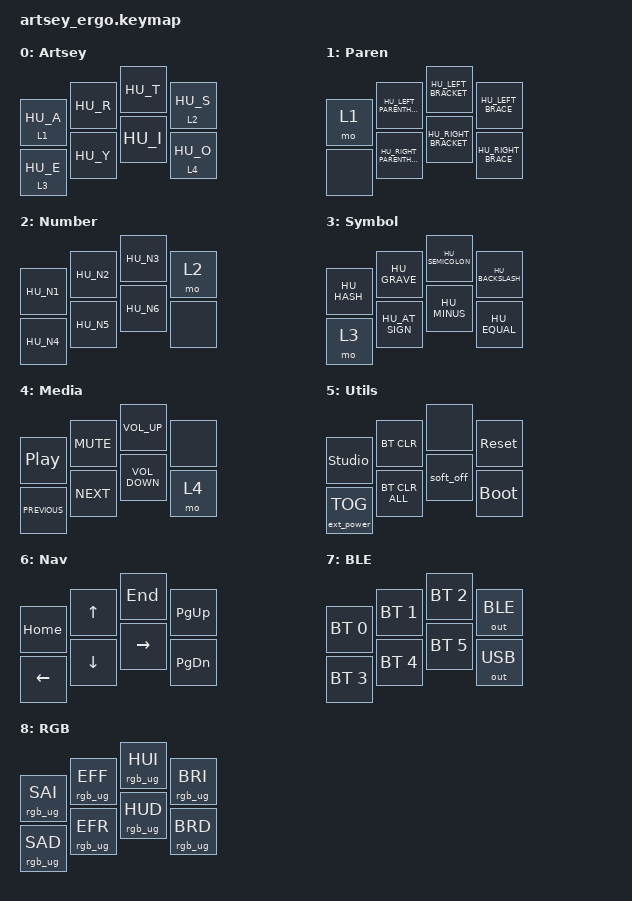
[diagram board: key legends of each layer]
#include <dt-bindings/zmk/keys.h>
#include <dt-bindings/zmk/outputs.h>
#include <dt-bindings/zmk/ext_power.h>
#include <dt-bindings/zmk/bt.h>
#include <dt-bindings/zmk/rgb.h>
#include <dt-bindings/led/led.h>
#include <locale/keys_hu.h>
#include <behaviors.dtsi>

/ {
	keymap {
		compatible = "zmk,keymap";

		base { // 0
			display-name = "Artsey";
			bindings = <
				&lt 1 HU_A		&kp HU_R	&kp HU_T	&lt 2 HU_S
				&lt 3 HU_E		&kp HU_Y	&kp HU_I	&lt 4 HU_O
			>;
		};

		parenthicals { // 1
			display-name = "Paren";
			bindings = <
				&mo 1	&kp HU_LEFT_PARENTHESIS		&kp HU_LEFT_BRACKET		&kp HU_LEFT_BRACE
				&none	&kp HU_RIGHT_PARENTHESIS	&kp HU_RIGHT_BRACKET	&kp HU_RIGHT_BRACE
			>;
		};

		numbers { // 2
			display-name = "Number";
			bindings = <
				&kp HU_N1	&kp HU_N2	&kp HU_N3	&mo 2
				&kp HU_N4	&kp HU_N5	&kp HU_N6	&none
			>;
		};

		symbols { // 3
			display-name = "Symbol";
			bindings = <
				&kp HU_HASH		&kp HU_GRAVE		&kp HU_SEMICOLON	&kp HU_BACKSLASH
				&mo 3			&kp HU_AT_SIGN		&kp HU_MINUS		&kp HU_EQUAL
			>;
		};

		media { // 4
			display-name = "Media";
			bindings = <
				&kp C_PLAY_PAUSE	&kp C_MUTE		&kp C_VOLUME_UP		&none
				&kp C_PREVIOUS		&kp C_NEXT		&kp C_VOLUME_DOWN	&mo 4
			>;
		};

		utilities { // 5
			display-name = "Utils";
			bindings = <
				&studio_unlock		&bt BT_CLR			&none		&sys_reset
				&ext_power EP_TOG	&bt BT_CLR_ALL		&soft_off	&bootloader
			>;
		};

		navigation { // 6
			display-name = "Nav";
			bindings = <
				&kp HOME			&kp UP_ARROW		&kp END				&kp PAGE_UP
				&kp LEFT_ARROW		&kp DOWN_ARROW		&kp RIGHT_ARROW		&kp PAGE_DOWN
			>;
		};

		bluetooth { // 7
			display-name = "BLE";
			bindings = <
				&bt BT_SEL 0	&bt BT_SEL 1	&bt BT_SEL 2	&out OUT_BLE
				&bt BT_SEL 3	&bt BT_SEL 4	&bt BT_SEL 5	&out OUT_USB
			>;
		};

		rgb { // 8
			display-name = "RGB";
			bindings = <
				&rgb_ug RGB_SAI		&rgb_ug RGB_EFF		&rgb_ug RGB_HUI		&rgb_ug RGB_BRI
				&rgb_ug RGB_SAD		&rgb_ug RGB_EFR		&rgb_ug RGB_HUD		&rgb_ug RGB_BRD
			>;
		};
	};

	combos {
		compatible = "zmk,combos";

		combo_b	{ layers = <0>; timeout-ms = <50>; key-positions = <4 7>;		bindings = <&kp HU_B>; };
		combo_c	{ layers = <0>; timeout-ms = <50>; key-positions = <4 5>;		bindings = <&kp HU_C>; };
		combo_d	{ layers = <0>; timeout-ms = <50>; key-positions = <0 1 2>;		bindings = <&kp HU_D>; };
		combo_f	{ layers = <0>; timeout-ms = <50>; key-positions = <0 1>;		bindings = <&kp HU_F>; };
		combo_g	{ layers = <0>; timeout-ms = <50>; key-positions = <1 2>;		bindings = <&kp HU_G>; };
		combo_h	{ layers = <0>; timeout-ms = <50>; key-positions = <4 6>;		bindings = <&kp HU_H>; };
		combo_j	{ layers = <0>; timeout-ms = <50>; key-positions = <2 3>;		bindings = <&kp HU_J>; };
		combo_k	{ layers = <0>; timeout-ms = <50>; key-positions = <5 7>;		bindings = <&kp HU_K>; };
		combo_l	{ layers = <0>; timeout-ms = <50>; key-positions = <4 5 6>;		bindings = <&kp HU_L>; };

		combo_m	{ layers = <0>; timeout-ms = <50>; key-positions = <5 6 7>;		bindings = <&kp HU_M>; };
		combo_n	{ layers = <0>; timeout-ms = <50>; key-positions = <6 7>;		bindings = <&kp HU_N>; };
		combo_p	{ layers = <0>; timeout-ms = <50>; key-positions = <4 6 7>;		bindings = <&kp HU_P>; };
		combo_q	{ layers = <0>; timeout-ms = <50>; key-positions = <0 2 3>;		bindings = <&kp HU_Q>; };
		combo_u	{ layers = <0>; timeout-ms = <50>; key-positions = <5 6>;		bindings = <&kp HU_U>; };
		combo_v	{ layers = <0>; timeout-ms = <50>; key-positions = <1 3>;		bindings = <&kp HU_V>; };
		combo_w	{ layers = <0>; timeout-ms = <50>; key-positions = <0 3>;		bindings = <&kp HU_W>; };
		combo_x	{ layers = <0>; timeout-ms = <50>; key-positions = <1 2 3>;		bindings = <&kp HU_X>; };
		combo_z	{ layers = <0>; timeout-ms = <50>; key-positions = <0 1 2 3>;	bindings = <&kp HU_Z>; };

		// ---

		combo_comma			{ layers = <0>; timeout-ms = <50>; key-positions = <0 5>; bindings = <&kp HU_COMMA>; };
		combo_period		{ layers = <0>; timeout-ms = <50>; key-positions = <0 6>; bindings = <&kp HU_PERIOD>; };
		combo_slash			{ layers = <0>; timeout-ms = <50>; key-positions = <0 7>; bindings = <&kp HU_SLASH>; };

		combo_quote			{ layers = <0>; timeout-ms = <50>; key-positions = <1 5>; bindings = <&kp HU_DOUBLE_QUOTES>; };
		combo_exclamation	{ layers = <0>; timeout-ms = <50>; key-positions = <2 6>; bindings = <&kp HU_EXCLAMATION>; };
		combo_question		{ layers = <0>; timeout-ms = <50>; key-positions = <3 7>; bindings = <&kp HU_QUESTION>; };

		// ---

		combo_space			{ timeout-ms = <50>; key-positions = <4 5 6 7>;		bindings = <&kp HU_SPACE>; };
		combo_backspace		{ timeout-ms = <50>; key-positions = <1 4>;			bindings = <&kp BACKSPACE>; };
		combo_delete		{ timeout-ms = <50>; key-positions = <1 6>;			bindings = <&kp DELETE>; };

		combo_enter			{ timeout-ms = <50>; key-positions = <0 4>;			bindings = <&kp ENTER>; };
		combo_esc			{ timeout-ms = <50>; key-positions = <0 1 7>;		bindings = <&kp ESCAPE>; };
		combo_tab			{ timeout-ms = <50>; key-positions = <0 1 2 7>;		bindings = <&kp TAB>; };

		// ---

		combo_ctrl_lock		{ timeout-ms = <50>; key-positions = <3 4>;				bindings = <&kt LEFT_CONTROL>; };
		combo_gui_lock		{ timeout-ms = <50>; key-positions = <3 5>;				bindings = <&kt LEFT_GUI>; };
		combo_alt_lock		{ timeout-ms = <50>; key-positions = <3 6>;				bindings = <&kt LEFT_ALT>; };

		combo_shift_lock	{ timeout-ms = <50>; key-positions = <0 5 6 7>;			bindings = <&kt LEFT_SHIFT>; };
		combo_shift			{ timeout-ms = <50>; key-positions = <1 2 3 4>;			bindings = <&sk LEFT_SHIFT>; };
		combo_clear			{ timeout-ms = <50>; key-positions = <1 2 3 4 5 6 7>;	bindings = <&kp CLEAR>; };

		// ---

		combo_zero		{ layers = <2>; timeout-ms = <50>; key-positions = <5 6>; bindings = <&kp HU_N0>; };
		combo_seven		{ layers = <2>; timeout-ms = <50>; key-positions = <0 1>; bindings = <&kp HU_N7>; };
		combo_eight		{ layers = <2>; timeout-ms = <50>; key-positions = <1 2>; bindings = <&kp HU_N8>; };
		combo_nine		{ layers = <2>; timeout-ms = <50>; key-positions = <4 5>; bindings = <&kp HU_N9>; };

		// ---

		combo_utilities		{ layers = <0 5>;	timeout-ms = <50>; key-positions = <0 2 5>;		bindings = <&tog 5>; };
		combo_nav			{ layers = <0 6>;	timeout-ms = <50>; key-positions = <1 4 6>;		bindings = <&tog 6>; };
		combo_bt			{ layers = <0 7>;	timeout-ms = <50>; key-positions = <0 3 4 7>;	bindings = <&tog 7>; };
		combo_rgb			{ layers = <0 8>;	timeout-ms = <50>; key-positions = <2 3 4 5>;	bindings = <&tog 8>; };
	};
};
